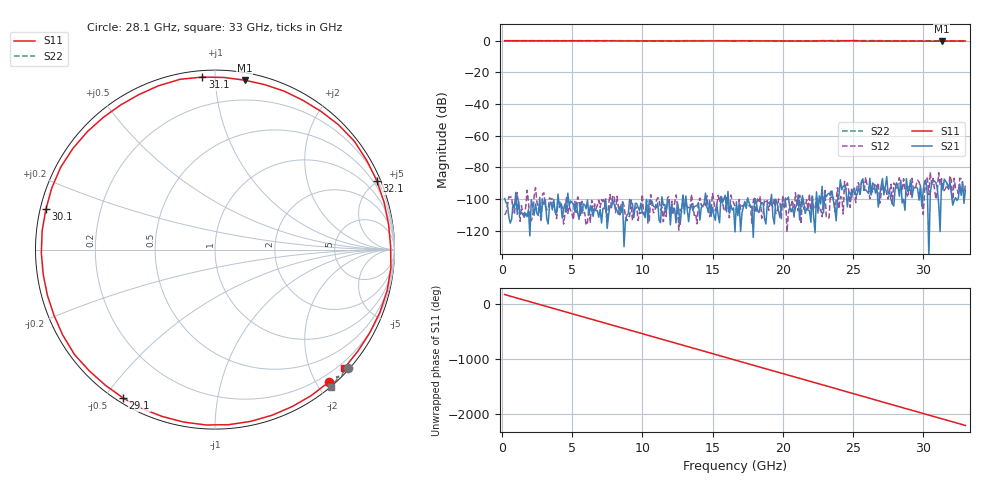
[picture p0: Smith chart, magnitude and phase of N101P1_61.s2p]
# GHZ S RI R 50
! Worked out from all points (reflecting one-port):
!   329 points, 200 MHz to 33 GHz, reference 50 ohm
!   lowest |S11| = -0.4 dB at 31.3 GHz (marker M1), VSWR 46.89, Z = 2.58 + j59.5 ohm
!   phase of S11 starts at 165 deg and turns -2368 deg over the sweep
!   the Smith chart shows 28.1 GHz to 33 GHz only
!   S11 on the Smith chart (normalised r, x): 28.1 GHz: 0.08, -2.17; 29.1 GHz: 0.02, -0.56; 30.1 GHz: 0.02, +0.12; 31.1 GHz: 0.03, +0.93; 32.1 GHz: 0.26, +4.90; 33 GHz: 0.09, -2.57
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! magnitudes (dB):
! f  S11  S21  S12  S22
! 200 MHz  0.0  -99.7  -110.2  0.0
! 5.7 GHz  0.0  -109.1  -101.5  0.0
! 11.2 GHz  -0.2  -113.7  -99.8  0.0
! 16.6 GHz  -0.1  -120.9  -104.9  0.0
! 22.1 GHz  -0.2  -98.2  -97.6  -0.1
! 23 GHz  -0.2  -96.6  -94.7  0.0
! 23.4 GHz  0.0  -98.0  -95.3  0.1
! 23.6 GHz  -0.2  -101.1  -99.1  0.0
! 23.9 GHz  -0.2  -100.1  -92.9  0.1
! 24 GHz  -0.3  -97.6  -106.3  0.0
! 24.2 GHz  0.0  -94.2  -99.1  0.0
! 24.6 GHz  -0.1  -105.0  -90.0  0.0
! 25 GHz  0.1  -94.2  -95.1  0.0
! 25.6 GHz  -0.2  -88.9  -89.7  0.0
! 27.6 GHz  -0.3  -95.2  -94.9  -0.1
! 28.1 GHz  -0.2  -89.8  -93.6  -0.1
! 29.1 GHz  -0.2  -87.9  -97.1  -0.2
! 30.1 GHz  -0.3  -88.7  -95.2  -0.1
! 31.1 GHz  -0.3  -103.1  -83.4  -0.2
! 31.3 GHz  -0.4  -89.1  -87.1  -0.1
! 32.1 GHz  -0.2  -103.9  -103.2  -0.2
! 33 GHz  -0.2  -94.5  -91.3  0.0
